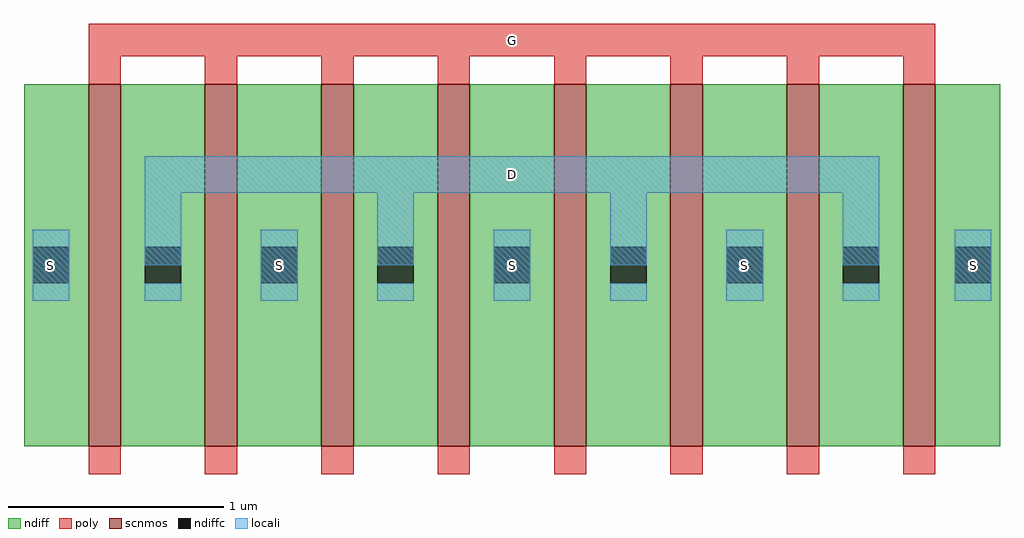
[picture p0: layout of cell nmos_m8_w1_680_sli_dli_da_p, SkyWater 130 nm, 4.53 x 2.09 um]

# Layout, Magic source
magic
tech sky130A
magscale 1 2
<< scnmos >>
rect 60 0 90 336
rect 168 0 198 336
rect 276 0 306 336
rect 384 0 414 336
rect 492 0 522 336
rect 600 0 630 336
rect 708 0 738 336
rect 816 0 846 336
<< ndiff >>
rect 0 0 60 336
rect 90 0 168 336
rect 198 0 276 336
rect 306 0 384 336
rect 414 0 492 336
rect 522 0 600 336
rect 630 0 708 336
rect 738 0 816 336
rect 846 0 906 336
<< poly >>
rect 60 362 846 392
rect 60 336 90 362
rect 168 336 198 362
rect 276 336 306 362
rect 384 336 414 362
rect 492 336 522 362
rect 600 336 630 362
rect 708 336 738 362
rect 816 336 846 362
rect 60 -26 90 0
rect 168 -26 198 0
rect 276 -26 306 0
rect 384 -26 414 0
rect 492 -26 522 0
rect 600 -26 630 0
rect 708 -26 738 0
rect 816 -26 846 0
<< locali >>
rect 112 235 794 269
rect 8 135 42 201
rect 112 168 146 235
rect 220 135 254 201
rect 328 168 362 235
rect 436 135 470 201
rect 544 168 578 235
rect 652 135 686 201
rect 760 168 794 235
rect 864 135 898 201
use contact_17  contact_17_8
transform 1 0 0 0 1 135
box 0 0 50 66
use contact_17  contact_17_7
transform 1 0 104 0 1 135
box 0 0 50 66
use contact_17  contact_17_6
transform 1 0 212 0 1 135
box 0 0 50 66
use contact_17  contact_17_5
transform 1 0 320 0 1 135
box 0 0 50 66
use contact_17  contact_17_4
transform 1 0 428 0 1 135
box 0 0 50 66
use contact_17  contact_17_3
transform 1 0 536 0 1 135
box 0 0 50 66
use contact_17  contact_17_2
transform 1 0 644 0 1 135
box 0 0 50 66
use contact_17  contact_17_1
transform 1 0 752 0 1 135
box 0 0 50 66
use contact_17  contact_17_0
transform 1 0 856 0 1 135
box 0 0 50 66
<< labels >>
rlabel poly s 453 377 453 377 4 G
rlabel corelocali s 669 168 669 168 4 S
rlabel corelocali s 881 168 881 168 4 S
rlabel corelocali s 453 168 453 168 4 S
rlabel corelocali s 237 168 237 168 4 S
rlabel corelocali s 25 168 25 168 4 S
rlabel corelocali s 453 252 453 252 4 D
<< properties >>
string FIXED_BBOX -25 -26 931 362
<< end >>

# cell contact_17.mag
magic
tech sky130A
<< ndiff >>
rect 0 25 25 31
rect 0 8 4 25
rect 21 8 25 25
rect 0 2 25 8
<< ndiffc >>
rect 4 8 21 25
<< locali >>
rect 4 25 21 33
rect 4 0 21 8
<< properties >>
string FIXED_BBOX -12 -10 37 43
<< end >>
